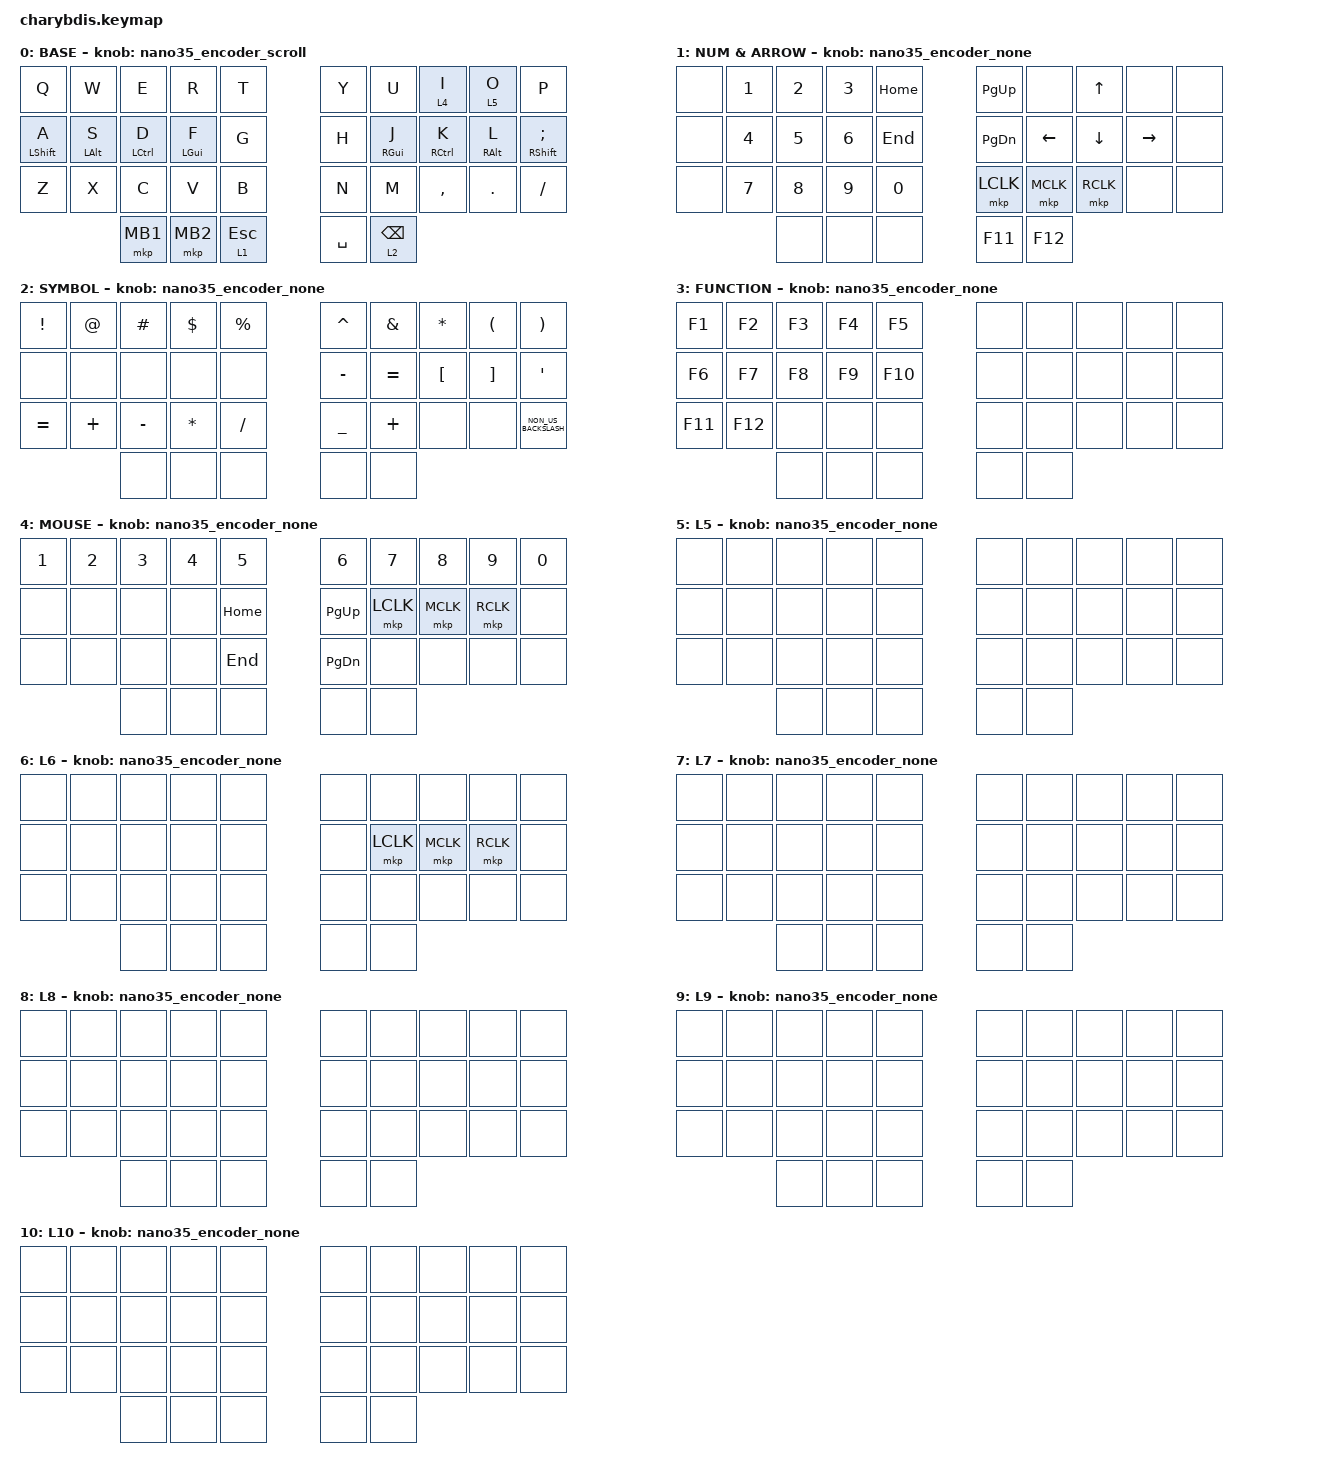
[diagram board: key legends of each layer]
#include <behaviors.dtsi>
#include <behaviors/runtime_macro.dtsi>
#include <behaviors/runtime_tapdance.dtsi>
#include <behaviors/runtime-sensor-rotate.dtsi>
#include <dt-bindings/zmk/keys.h>
#include <dt-bindings/zmk/pointing.h>

// Upper three rows follow HyDroGen2528/zmk-dongle-keyball39,
// V4.0-hotFixed/config/keyball39.keymap, with the approved simplifications.
// Keep the existing Nano35 thumb bindings and layer-tap timing.
&lt {
    tapping-term-ms = <200>;
    flavor = "balanced";
    quick-tap-ms = <150>;
};

&mt {
    tapping-term-ms = <200>;
    flavor = "tap-preferred";
    quick-tap-ms = <150>;
};

/ {
    behaviors {
        nano35_encoder_scroll: nano35_encoder_scroll {
            compatible = "zmk,behavior-runtime-sensor-rotate";
            #sensor-binding-cells = <0>;
            // One 16 ms mouse tick at 100 units/s produces one wheel unit.
            tap-ms = <20>;
            cw-binding = <&msc MOVE_Y(-100)>;
            ccw-binding = <&msc MOVE_Y(100)>;
        };

        nano35_encoder_none: nano35_encoder_none {
            compatible = "zmk,behavior-runtime-sensor-rotate";
            #sensor-binding-cells = <0>;
            cw-binding = <&none>;
            ccw-binding = <&none>;
        };
    };

    keymap {
        compatible = "zmk,keymap";

        layer_0 {
            display-name = "BASE";
            sensor-bindings = <&nano35_encoder_scroll>;
            bindings = <
                &kp Q                   &kp W                   &kp E                   &kp R                   &kp T                       &kp Y                   &kp U                   &lt 4 I                 &lt 5 O                 &kp P
                &mt LEFT_SHIFT A        &mt LEFT_ALT S          &mt LCTRL D             &mt LEFT_GUI F          &kp G                       &kp H                   &mt RIGHT_GUI J         &mt RCTRL K             &mt RIGHT_ALT L         &mt RIGHT_SHIFT SEMI
                &kp Z                   &kp X                   &kp C                   &kp V                   &kp B                       &kp N                   &kp M                   &kp COMMA               &kp DOT                 &kp SLASH
                                                                &mkp MB1                &mkp MB2                &lt 1 ESC                   &kp SPACE               &lt 2 BACKSPACE
            >;
        };

        layer_1 {
            display-name = "NUM & ARROW";
            sensor-bindings = <&nano35_encoder_none>;
            bindings = <
                &none                   &kp NUMBER_1            &kp NUMBER_2            &kp NUMBER_3            &kp HOME                    &kp PG_UP               &none                   &kp UP_ARROW            &none                   &none
                &none                   &kp NUMBER_4            &kp N5                  &kp NUMBER_6            &kp END                     &kp PAGE_DOWN           &kp LEFT_ARROW          &kp DOWN_ARROW          &kp RIGHT_ARROW         &none
                &none                   &kp N7                  &kp N8                  &kp N9                  &kp N0                      &mkp LCLK               &mkp MCLK               &mkp RCLK               &none                   &none
                                                                &none                   &none                   &none                       &kp F11                 &kp F12
            >;
        };

        layer_2 {
            display-name = "SYMBOL";
            sensor-bindings = <&nano35_encoder_none>;
            bindings = <
                &kp EXCLAMATION         &kp AT_SIGN             &kp HASH                &kp DOLLAR              &kp PERCENT                 &kp CARET               &kp AMPERSAND           &kp ASTERISK            &kp LEFT_PARENTHESIS    &kp RIGHT_PARENTHESIS
                &none                   &none                   &none                   &none                   &none                       &kp MINUS               &kp EQUAL               &kp LEFT_BRACKET        &kp RIGHT_BRACKET       &kp SQT
                &kp EQUAL               &kp PLUS                &kp MINUS               &kp ASTERISK            &kp SLASH                   &kp UNDERSCORE          &kp PLUS                &none                   &none                   &kp NON_US_BACKSLASH
                                                                &none                   &none                   &none                       &none                   &none
            >;
        };

        layer_3 {
            display-name = "FUNCTION";
            sensor-bindings = <&nano35_encoder_none>;
            bindings = <
                &kp F1                  &kp F2                  &kp F3                  &kp F4                  &kp F5                      &none                   &none                   &none                   &none                   &none
                &kp F6                  &kp F7                  &kp F8                  &kp F9                  &kp F10                     &none                   &none                   &none                   &none                   &none
                &kp F11                 &kp F12                 &none                   &none                   &none                       &none                   &none                   &none                   &none                   &none
                                                                &none                   &none                   &none                       &none                   &none
            >;
        };

        layer_4 {
            display-name = "MOUSE";
            sensor-bindings = <&nano35_encoder_none>;
            bindings = <
                &kp N1                  &kp N2                  &kp N3                  &kp N4                  &kp N5                      &kp N6                  &kp N7                  &kp N8                  &kp N9                  &kp N0
                &none                   &none                   &none                   &none                   &kp HOME                    &kp PAGE_UP             &mkp LCLK               &mkp MCLK               &mkp RCLK               &none
                &none                   &none                   &none                   &none                   &kp END                     &kp PAGE_DOWN           &none                   &none                   &none                   &none
                                                                &none                   &none                   &none                       &none                   &none
            >;
        };

        layer_5 {
            display-name = "L5";
            sensor-bindings = <&nano35_encoder_none>;
            bindings = <
                &none                   &none                   &none                   &none                   &none                       &none                   &none                   &none                   &none                   &none
                &none                   &none                   &none                   &none                   &none                       &none                   &none                   &none                   &none                   &none
                &none                   &none                   &none                   &none                   &none                       &none                   &none                   &none                   &none                   &none
                                                                &none                   &none                   &none                       &none                   &none
            >;
        };

        layer_6 {
            display-name = "L6";
            sensor-bindings = <&nano35_encoder_none>;
            bindings = <
                &none                   &none                   &none                   &none                   &none                       &none                   &none                   &none                   &none                   &none
                &none                   &none                   &none                   &none                   &none                       &none                   &mkp LCLK               &mkp MCLK               &mkp RCLK               &none
                &none                   &none                   &none                   &none                   &none                       &none                   &none                   &none                   &none                   &none
                                                                &none                   &none                   &none                       &none                   &none
            >;
        };

        layer_7 {
            display-name = "L7";
            sensor-bindings = <&nano35_encoder_none>;
            bindings = <
                &none                   &none                   &none                   &none                   &none                       &none                   &none                   &none                   &none                   &none
                &none                   &none                   &none                   &none                   &none                       &none                   &none                   &none                   &none                   &none
                &none                   &none                   &none                   &none                   &none                       &none                   &none                   &none                   &none                   &none
                                                                &none                   &none                   &none                       &none                   &none
            >;
        };

        layer_8 {
            display-name = "L8";
            sensor-bindings = <&nano35_encoder_none>;
            bindings = <
                &none                   &none                   &none                   &none                   &none                       &none                   &none                   &none                   &none                   &none
                &none                   &none                   &none                   &none                   &none                       &none                   &none                   &none                   &none                   &none
                &none                   &none                   &none                   &none                   &none                       &none                   &none                   &none                   &none                   &none
                                                                &none                   &none                   &none                       &none                   &none
            >;
        };

        layer_9 {
            display-name = "L9";
            sensor-bindings = <&nano35_encoder_none>;
            bindings = <
                &none                   &none                   &none                   &none                   &none                       &none                   &none                   &none                   &none                   &none
                &none                   &none                   &none                   &none                   &none                       &none                   &none                   &none                   &none                   &none
                &none                   &none                   &none                   &none                   &none                       &none                   &none                   &none                   &none                   &none
                                                                &none                   &none                   &none                       &none                   &none
            >;
        };

        layer_10 {
            display-name = "L10";
            sensor-bindings = <&nano35_encoder_none>;
            bindings = <
                &none                   &none                   &none                   &none                   &none                       &none                   &none                   &none                   &none                   &none
                &none                   &none                   &none                   &none                   &none                       &none                   &none                   &none                   &none                   &none
                &none                   &none                   &none                   &none                   &none                       &none                   &none                   &none                   &none                   &none
                                                                &none                   &none                   &none                       &none                   &none
            >;
        };
    };
};
